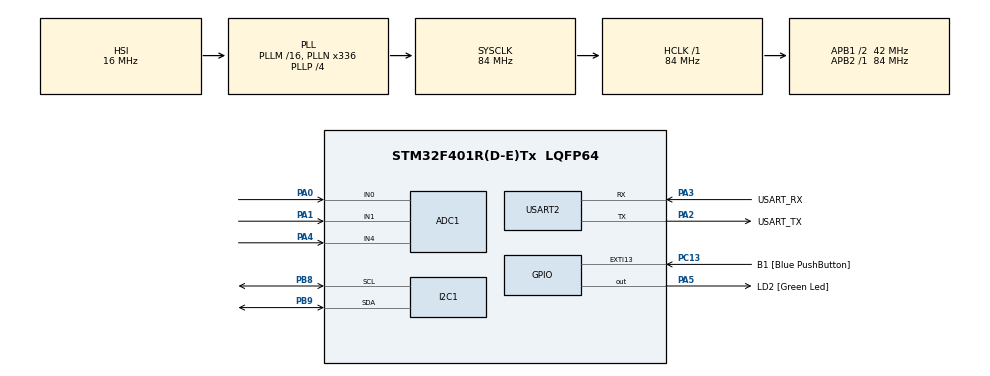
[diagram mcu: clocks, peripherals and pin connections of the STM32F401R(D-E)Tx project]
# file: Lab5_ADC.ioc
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ADC1.Channel-0\#ChannelRegularConversion=ADC_CHANNEL_0
ADC1.Channel-1\#ChannelRegularConversion=ADC_CHANNEL_1
ADC1.Channel-2\#ChannelRegularConversion=ADC_CHANNEL_4
ADC1.ContinuousConvMode=ENABLE
ADC1.NbrOfConversion=3
ADC1.NbrOfConversionFlag=1
ADC1.Rank-0\#ChannelRegularConversion=1
ADC1.Rank-1\#ChannelRegularConversion=2
ADC1.Rank-2\#ChannelRegularConversion=3
ADC1.SamplingTime-0\#ChannelRegularConversion=ADC_SAMPLETIME_480CYCLES
ADC1.SamplingTime-1\#ChannelRegularConversion=ADC_SAMPLETIME_480CYCLES
ADC1.SamplingTime-2\#ChannelRegularConversion=ADC_SAMPLETIME_480CYCLES
ADC1.ScanConvMode=ENABLE
ADC1.master=1
Mcu.Family=STM32F4
Mcu.Name=STM32F401R(D-E)Tx
Mcu.Package=LQFP64
NVIC.ADC_IRQn=true\:0\:0\:false\:false\:true\:true\:true\:true
NVIC.PriorityGroup=NVIC_PRIORITYGROUP_0
PA0-WKUP.Signal=ADCx_IN0
PA1.Signal=ADCx_IN1
PA13.GPIO_Label=TMS
PA13.Mode=Serial_Wire
PA13.Signal=SYS_JTMS-SWDIO
PA14.GPIO_Label=TCK
PA14.Mode=Serial_Wire
PA14.Signal=SYS_JTCK-SWCLK
PA2.GPIO_Label=USART_TX
PA2.GPIO_Mode=GPIO_MODE_AF_PP
PA2.GPIO_PuPd=GPIO_NOPULL
PA2.GPIO_Speed=GPIO_SPEED_FREQ_LOW
PA2.Mode=Asynchronous
PA2.Signal=USART2_TX
PA3.GPIO_Label=USART_RX
PA3.GPIO_Mode=GPIO_MODE_AF_PP
PA3.GPIO_PuPd=GPIO_NOPULL
PA3.GPIO_Speed=GPIO_SPEED_FREQ_LOW
PA3.Mode=Asynchronous
PA3.Signal=USART2_RX
PA4.Signal=ADCx_IN4
PA5.GPIO_Label=LD2 [Green Led]
PA5.GPIO_Mode=GPIO_MODE_OUTPUT_PP
PA5.GPIO_PuPd=GPIO_NOPULL
PA5.GPIO_Speed=GPIO_SPEED_FREQ_LOW
PA5.Signal=GPIO_Output
PB3.GPIO_Label=SWO
PB3.Signal=SYS_JTDO-SWO
PB8.Mode=I2C
PB8.Signal=I2C1_SCL
PB9.Mode=I2C
PB9.Signal=I2C1_SDA
PC13-ANTI_TAMP.GPIO_Label=B1 [Blue PushButton]
PC13-ANTI_TAMP.GPIO_ModeDefaultEXTI=GPIO_MODE_IT_FALLING
PC13-ANTI_TAMP.GPIO_PuPd=GPIO_NOPULL
PC13-ANTI_TAMP.Signal=GPXTI13
PC14-OSC32_IN.Mode=LSE-External-Oscillator
PC14-OSC32_IN.Signal=RCC_OSC32_IN
PC15-OSC32_OUT.Mode=LSE-External-Oscillator
PC15-OSC32_OUT.Signal=RCC_OSC32_OUT
PH0\ -\ OSC_IN.Mode=HSE-External-Clock-Source
PH0\ -\ OSC_IN.Signal=RCC_OSC_IN
PH1\ -\ OSC_OUT.Mode=HSE-External-Clock-Source
PH1\ -\ OSC_OUT.Signal=RCC_OSC_OUT
ProjectManager.HeapSize=0x200
ProjectManager.StackSize=0x400
ProjectManager.TargetToolchain=STM32CubeIDE
RCC.48MHZClocksFreq_Value=48000000
RCC.AHBFreq_Value=84000000
RCC.APB1CLKDivider=RCC_HCLK_DIV2
RCC.APB1Freq_Value=42000000
RCC.APB1TimFreq_Value=84000000
RCC.APB2Freq_Value=84000000
RCC.APB2TimFreq_Value=84000000
RCC.CortexFreq_Value=84000000
RCC.HCLKFreq_Value=84000000
RCC.HSE_VALUE=8000000
RCC.HSI_VALUE=16000000
RCC.PLLN=336
RCC.PLLP=RCC_PLLP_DIV4
RCC.PLLQ=7
RCC.SYSCLKFreq_VALUE=84000000
RCC.SYSCLKSource=RCC_SYSCLKSOURCE_PLLCLK
RCC.VCOOutputFreq_Value=336000000
SH.ADCx_IN0.0=ADC1_IN0,IN0
SH.ADCx_IN1.0=ADC1_IN1,IN1
SH.ADCx_IN4.0=ADC1_IN4,IN4
TIM2.Prescaler=84-1
USART2.VirtualMode=VM_ASYNC
VP_TIM2_VS_ClockSourceINT.Mode=Internal
board=NUCLEO-F401RE

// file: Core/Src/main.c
/* USER CODE BEGIN Header */
/**
  ******************************************************************************
  * @file           : main.c
  * @brief          : Main program body
  ******************************************************************************
  * @attention
  *
  * Copyright (c) 2024 STMicroelectronics.
  * All rights reserved.
  *
  * This software is licensed under terms that can be found in the LICENSE file
  * in the root directory of this software component.
  * If no LICENSE file comes with this software, it is provided AS-IS.
  *
  ******************************************************************************
  */
/* USER CODE END Header */
#include "main.h"

/* USER CODE BEGIN Includes */
<<<<<<< HEAD
=======
#include "lcd.h"
#include <stdio.h>
// I en header-fil eller i början av main.c
#define ADC_BUF_SIZE 3  // Storlek på bufferten
uint16_t adc_buffer[ADC_BUF_SIZE];
int adc_buf_ix = 0;
int main_flag = 0;
>>>>>>> 5583f1a8fb8de67c4706c5337204a4c28b7dd8bd

/* USER CODE END Includes */

/* USER CODE BEGIN PD */
<<<<<<< HEAD

=======
uint16_t read_one_adc_value(ADC_HandleTypeDef * hadc);
void HAL_ADC_ConvCpltCallback( ADC_HandleTypeDef *hadc );
uint32_t HAL_ADC_GetValue( ADC_HandleTypeDef *hadc );
HAL_StatusTypeDef HAL_ADC_Start_IT( ADC_HandleTypeDef *hadc );
uint16_t test;
float normalize_12bit(uint16_t x); // right in image
float normalize_12bit_posneg(uint16_t x); // left in image
>>>>>>> 5583f1a8fb8de67c4706c5337204a4c28b7dd8bd
/* USER CODE END PD */

ADC_HandleTypeDef hadc1;

I2C_HandleTypeDef hi2c1;

TIM_HandleTypeDef htim2;

UART_HandleTypeDef huart2;

/* USER CODE BEGIN PV */
<<<<<<< HEAD

=======
TextLCDType lcd;
>>>>>>> 5583f1a8fb8de67c4706c5337204a4c28b7dd8bd
/* USER CODE END PV */

void SystemClock_Config(void);
static void MX_GPIO_Init(void);
static void MX_USART2_UART_Init(void);
static void MX_ADC1_Init(void);
static void MX_TIM2_Init(void);
static void MX_I2C1_Init(void);

/* USER CODE BEGIN 0 */
<<<<<<< HEAD

=======
uint16_t read_one_adc_value(ADC_HandleTypeDef * hadc)
{
	HAL_ADC_Start(hadc);
	HAL_ADC_PollForConversion(hadc, 100);
	uint32_t reading = HAL_ADC_GetValue(hadc);
	HAL_ADC_Stop(hadc);
	return (uint16_t) reading;
}
void HAL_ADC_ConvCpltCallback(ADC_HandleTypeDef *hadc)
{
    // Check if the correct ADC instance triggered the callback
    if (hadc->Instance == ADC1)  // Change ADC1 to your specific ADC instance if needed
    {
        // Read the converted value from the ADC
    	uint32_t reading;

        // Save the value in the buffer
        	reading = HAL_ADC_GetValue(hadc);
            adc_buffer[adc_buf_ix] = reading;
        	adc_buf_ix++;
            if (adc_buf_ix >= ADC_BUF_SIZE)
            {
                adc_buf_ix = 0;
                main_flag = 1;
            }

        /*adc_buf_ix++;
        if (adc_buf_ix >= ADC_BUF_SIZE) {
            adc_buf_ix = 0;
            main_flag = 1;				// Reset index if buffer is full
        }*/

        // Start the next ADC conversion
        //HAL_ADC_Start_IT(hadc);  // Start the next conversion in interrupt mode
    }
}
float normalize_12bit(uint16_t x) {
    return (float)x / 4095.0f;  // 12-bit max value is 4095
}

// Normalize value to the range of -1.0 to 1.0
float normalize_12bit_posneg(uint16_t x) {
    return ((float)x / 2047.5f) - 1.0f;  // Shifts the range from 0-4095 to -1.0 to 1.0
}
>>>>>>> 5583f1a8fb8de67c4706c5337204a4c28b7dd8bd
/* USER CODE END 0 */

int main(void)
{

  /* MCU Configuration--------------------------------------------------------*/

  /* Reset of all peripherals, Initializes the Flash interface and the Systick. */
  HAL_Init();

  /* Configure the system clock */
  SystemClock_Config();

  /* Initialize all configured peripherals */
  MX_GPIO_Init();
  MX_USART2_UART_Init();
  MX_ADC1_Init();
  MX_TIM2_Init();
  MX_I2C1_Init();
  /* USER CODE BEGIN 2 */
<<<<<<< HEAD

=======
  TextLCD_Init(&lcd, &hi2c1, 0x4E);
>>>>>>> 5583f1a8fb8de67c4706c5337204a4c28b7dd8bd
  /* USER CODE END 2 */

  /* Infinite loop */
  /* USER CODE BEGIN WHILE */
<<<<<<< HEAD
  while (1)
  {
=======
  HAL_ADC_Start_IT(&hadc1);  // Start the next conversion in interrupt mode
  while (1)
  {

      while (main_flag != 1)
      {

      }

      // Read a value from the ADC
      //uint16_t test = read_one_adc_value(&hadc1);

      // Buffers to store the formatted strings
      char bufferpos[10];
      char bufferneg[10];
      char bufferfoto[10];

      // Using sprintf to call the normalize functions
      sprintf(bufferpos, "%+.2fy", normalize_12bit(adc_buffer[2]));
      sprintf(bufferneg, "%+.2fx", normalize_12bit_posneg(adc_buffer[0]));
      sprintf(bufferfoto, "%.3fL", normalize_12bit(adc_buffer[1]));

      // Set cursor to a specific position for the first value (row 0, column 1)
      TextLCD_Position(&lcd, 0, 1);  // Adjust row and column as needed
      TextLCD_PutStr(&lcd, bufferpos);

      // Set cursor to another position for the second value (row 1, column 0)
      TextLCD_Position(&lcd, 0, 0);  // Adjust row and column as needed
      TextLCD_PutStr(&lcd, bufferneg);

      TextLCD_Position(&lcd, 10, 0);  // Adjust row and column as needed
      TextLCD_PutStr(&lcd, bufferfoto);

>>>>>>> 5583f1a8fb8de67c4706c5337204a4c28b7dd8bd
    /* USER CODE END WHILE */

    /* USER CODE BEGIN 3 */
  }
<<<<<<< HEAD
=======

>>>>>>> 5583f1a8fb8de67c4706c5337204a4c28b7dd8bd
  /* USER CODE END 3 */
}

void SystemClock_Config(void)
{
  RCC_OscInitTypeDef RCC_OscInitStruct = {0};
  RCC_ClkInitTypeDef RCC_ClkInitStruct = {0};

  /** Configure the main internal regulator output voltage
  */
  __HAL_RCC_PWR_CLK_ENABLE();
  __HAL_PWR_VOLTAGESCALING_CONFIG(PWR_REGULATOR_VOLTAGE_SCALE2);

  /** Initializes the RCC Oscillators according to the specified parameters
  * in the RCC_OscInitTypeDef structure.
  */
  RCC_OscInitStruct.OscillatorType = RCC_OSCILLATORTYPE_HSI;
  RCC_OscInitStruct.HSIState = RCC_HSI_ON;
  RCC_OscInitStruct.HSICalibrationValue = RCC_HSICALIBRATION_DEFAULT;
  RCC_OscInitStruct.PLL.PLLState = RCC_PLL_ON;
  RCC_OscInitStruct.PLL.PLLSource = RCC_PLLSOURCE_HSI;
  RCC_OscInitStruct.PLL.PLLM = 16;
  RCC_OscInitStruct.PLL.PLLN = 336;
  RCC_OscInitStruct.PLL.PLLP = RCC_PLLP_DIV4;
  RCC_OscInitStruct.PLL.PLLQ = 7;
  if (HAL_RCC_OscConfig(&RCC_OscInitStruct) != HAL_OK)
  {
    Error_Handler();
  }

  /** Initializes the CPU, AHB and APB buses clocks
  */
  RCC_ClkInitStruct.ClockType = RCC_CLOCKTYPE_HCLK|RCC_CLOCKTYPE_SYSCLK
                              |RCC_CLOCKTYPE_PCLK1|RCC_CLOCKTYPE_PCLK2;
  RCC_ClkInitStruct.SYSCLKSource = RCC_SYSCLKSOURCE_PLLCLK;
  RCC_ClkInitStruct.AHBCLKDivider = RCC_SYSCLK_DIV1;
  RCC_ClkInitStruct.APB1CLKDivider = RCC_HCLK_DIV2;
  RCC_ClkInitStruct.APB2CLKDivider = RCC_HCLK_DIV1;

  if (HAL_RCC_ClockConfig(&RCC_ClkInitStruct, FLASH_LATENCY_2) != HAL_OK)
  {
    Error_Handler();
  }
}

static void MX_ADC1_Init(void)
{

  ADC_ChannelConfTypeDef sConfig = {0};

  /** Configure the global features of the ADC (Clock, Resolution, Data Alignment and number of conversion)
  */
  hadc1.Instance = ADC1;
  hadc1.Init.ClockPrescaler = ADC_CLOCK_SYNC_PCLK_DIV4;
  hadc1.Init.Resolution = ADC_RESOLUTION_12B;
<<<<<<< HEAD
  hadc1.Init.ScanConvMode = DISABLE;
  hadc1.Init.ContinuousConvMode = DISABLE;
=======
  hadc1.Init.ScanConvMode = ENABLE;
  hadc1.Init.ContinuousConvMode = ENABLE;
>>>>>>> 5583f1a8fb8de67c4706c5337204a4c28b7dd8bd
  hadc1.Init.DiscontinuousConvMode = DISABLE;
  hadc1.Init.ExternalTrigConvEdge = ADC_EXTERNALTRIGCONVEDGE_NONE;
  hadc1.Init.ExternalTrigConv = ADC_SOFTWARE_START;
  hadc1.Init.DataAlign = ADC_DATAALIGN_RIGHT;
<<<<<<< HEAD
  hadc1.Init.NbrOfConversion = 1;
=======
  hadc1.Init.NbrOfConversion = 3;
>>>>>>> 5583f1a8fb8de67c4706c5337204a4c28b7dd8bd
  hadc1.Init.DMAContinuousRequests = DISABLE;
  hadc1.Init.EOCSelection = ADC_EOC_SINGLE_CONV;
  if (HAL_ADC_Init(&hadc1) != HAL_OK)
  {
    Error_Handler();
  }

  /** Configure for the selected ADC regular channel its corresponding rank in the sequencer and its sample time.
  */
  sConfig.Channel = ADC_CHANNEL_0;
  sConfig.Rank = 1;
<<<<<<< HEAD
  sConfig.SamplingTime = ADC_SAMPLETIME_15CYCLES;
=======
  sConfig.SamplingTime = ADC_SAMPLETIME_480CYCLES;
  if (HAL_ADC_ConfigChannel(&hadc1, &sConfig) != HAL_OK)
  {
    Error_Handler();
  }

  /** Configure for the selected ADC regular channel its corresponding rank in the sequencer and its sample time.
  */
  sConfig.Channel = ADC_CHANNEL_1;
  sConfig.Rank = 2;
  if (HAL_ADC_ConfigChannel(&hadc1, &sConfig) != HAL_OK)
  {
    Error_Handler();
  }

  /** Configure for the selected ADC regular channel its corresponding rank in the sequencer and its sample time.
  */
  sConfig.Channel = ADC_CHANNEL_4;
  sConfig.Rank = 3;
>>>>>>> 5583f1a8fb8de67c4706c5337204a4c28b7dd8bd
  if (HAL_ADC_ConfigChannel(&hadc1, &sConfig) != HAL_OK)
  {
    Error_Handler();
  }

}

static void MX_I2C1_Init(void)
{

  hi2c1.Instance = I2C1;
  hi2c1.Init.ClockSpeed = 100000;
  hi2c1.Init.DutyCycle = I2C_DUTYCYCLE_2;
  hi2c1.Init.OwnAddress1 = 0;
  hi2c1.Init.AddressingMode = I2C_ADDRESSINGMODE_7BIT;
  hi2c1.Init.DualAddressMode = I2C_DUALADDRESS_DISABLE;
  hi2c1.Init.OwnAddress2 = 0;
  hi2c1.Init.GeneralCallMode = I2C_GENERALCALL_DISABLE;
  hi2c1.Init.NoStretchMode = I2C_NOSTRETCH_DISABLE;
  if (HAL_I2C_Init(&hi2c1) != HAL_OK)
  {
    Error_Handler();
  }

}

static void MX_TIM2_Init(void)
{

  TIM_ClockConfigTypeDef sClockSourceConfig = {0};
  TIM_MasterConfigTypeDef sMasterConfig = {0};

  htim2.Instance = TIM2;
  htim2.Init.Prescaler = 84-1;
  htim2.Init.CounterMode = TIM_COUNTERMODE_UP;
  htim2.Init.Period = 4294967295;
  htim2.Init.ClockDivision = TIM_CLOCKDIVISION_DIV1;
  htim2.Init.AutoReloadPreload = TIM_AUTORELOAD_PRELOAD_DISABLE;
  if (HAL_TIM_Base_Init(&htim2) != HAL_OK)
  {
    Error_Handler();
  }
  sClockSourceConfig.ClockSource = TIM_CLOCKSOURCE_INTERNAL;
  if (HAL_TIM_ConfigClockSource(&htim2, &sClockSourceConfig) != HAL_OK)
  {
    Error_Handler();
  }
  sMasterConfig.MasterOutputTrigger = TIM_TRGO_RESET;
  sMasterConfig.MasterSlaveMode = TIM_MASTERSLAVEMODE_DISABLE;
  if (HAL_TIMEx_MasterConfigSynchronization(&htim2, &sMasterConfig) != HAL_OK)
  {
    Error_Handler();
  }

}

static void MX_USART2_UART_Init(void)
{

  huart2.Instance = USART2;
  huart2.Init.BaudRate = 115200;
  huart2.Init.WordLength = UART_WORDLENGTH_8B;
  huart2.Init.StopBits = UART_STOPBITS_1;
  huart2.Init.Parity = UART_PARITY_NONE;
  huart2.Init.Mode = UART_MODE_TX_RX;
  huart2.Init.HwFlowCtl = UART_HWCONTROL_NONE;
  huart2.Init.OverSampling = UART_OVERSAMPLING_16;
  if (HAL_UART_Init(&huart2) != HAL_OK)
  {
    Error_Handler();
  }

}

static void MX_GPIO_Init(void)
{
  GPIO_InitTypeDef GPIO_InitStruct = {0};

  /* GPIO Ports Clock Enable */
  __HAL_RCC_GPIOC_CLK_ENABLE();
  __HAL_RCC_GPIOH_CLK_ENABLE();
  __HAL_RCC_GPIOA_CLK_ENABLE();
  __HAL_RCC_GPIOB_CLK_ENABLE();

  /*Configure GPIO pin Output Level */
  HAL_GPIO_WritePin(LD2_GPIO_Port, LD2_Pin, GPIO_PIN_RESET);

  /*Configure GPIO pin : B1_Pin */
  GPIO_InitStruct.Pin = B1_Pin;
  GPIO_InitStruct.Mode = GPIO_MODE_IT_FALLING;
  GPIO_InitStruct.Pull = GPIO_NOPULL;
  HAL_GPIO_Init(B1_GPIO_Port, &GPIO_InitStruct);

  /*Configure GPIO pin : LD2_Pin */
  GPIO_InitStruct.Pin = LD2_Pin;
  GPIO_InitStruct.Mode = GPIO_MODE_OUTPUT_PP;
  GPIO_InitStruct.Pull = GPIO_NOPULL;
  GPIO_InitStruct.Speed = GPIO_SPEED_FREQ_LOW;
  HAL_GPIO_Init(LD2_GPIO_Port, &GPIO_InitStruct);

}

void Error_Handler(void)
{
  __disable_irq();
  while (1)
  {
  }
}
